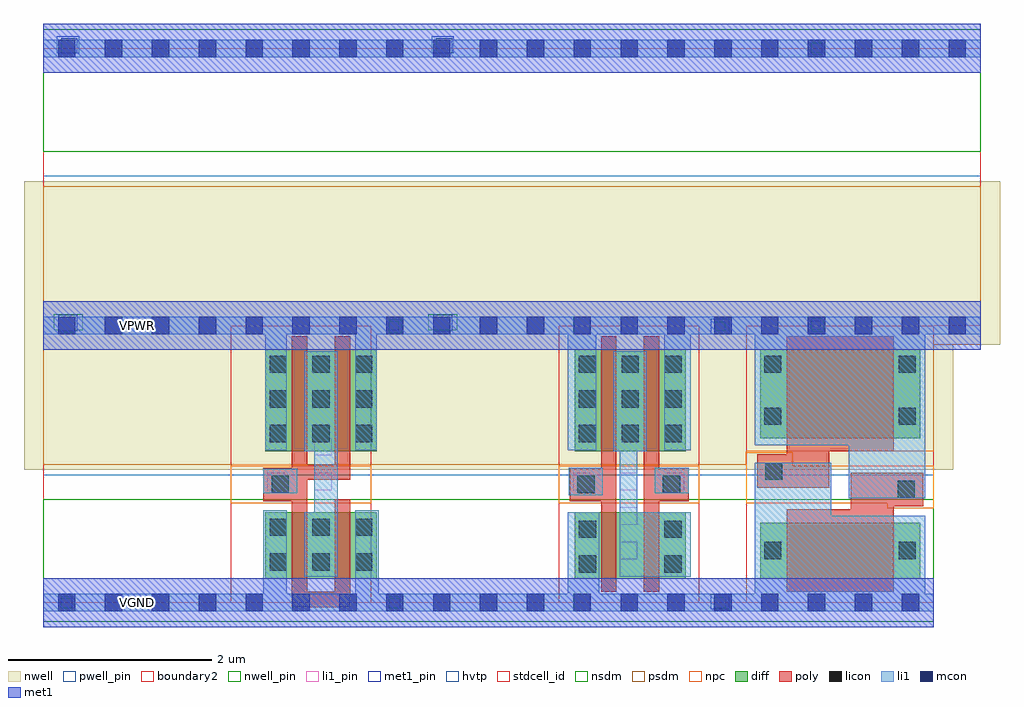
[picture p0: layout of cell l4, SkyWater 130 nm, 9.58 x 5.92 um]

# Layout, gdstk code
import gdstk
lib = gdstk.Library(unit=1e-6, precision=1e-09)
def R(c, l, rs):  # rectangles x0, y0, x1, y1
    for r in rs: c.add(gdstk.rectangle(r[:2], r[2:], *l))
def A(c, l, x, y, w, h, nx, ny, dx, dy):  # array of equal rectangles
    R(c, l, [(x+i*dx, y+j*dy, x+i*dx+w, y+j*dy+h) for i in range(nx) for j in range(ny)])
nwell_pin = (64, 16)
nwell = (64, 20)
diff = (65, 20)
poly = (66, 20)
licon = (66, 44)
li1_pin = (67, 16)
li1 = (67, 20)
mcon = (67, 44)
met1_pin = (68, 16)
met1 = (68, 20)
hvtp = (78, 44)
stdcell_id = (81, 4)
nsdm = (93, 44)
psdm = (94, 20)
npc = (95, 20)
pwell_pin = (122, 16)
boundary2 = (236, 0)

c_l4 = lib.new_cell('l4')
R(c_l4, nwell_pin, [(1.985,2.635,2.155,2.805), (1.985,2.635,2.155,2.805), (5.2,2.635,5.37,2.805), (7.045,2.635,7.215,2.805), (0.175,2.65,0.3,2.78), (3.395,2.65,3.52,2.78), (7.535,2.66,7.66,2.79), (6.595,2.67,6.695,2.755), (0.1,2.675,0.385,2.83), (3.78,2.675,4.065,2.83)])
R(c_l4, nwell, [(-0.19,1.305,2.03,2.91), (1.65,1.305,3.45,2.91), (3.03,1.305,5.25,2.91), (4.87,1.305,6.63,2.91), (6.25,1.305,7.09,2.91), (6.71,1.305,8.93,2.91), (-0.19,2.53,3.87,4.135), (3.49,2.53,7.55,4.135), (7.17,2.53,9.39,4.135)])
R(c_l4, diff, [(2.18,0.235,3.27,0.885), (5.215,0.235,6.305,0.885), (7.035,0.235,8.605,0.785), (2.18,1.485,3.27,2.485), (5.215,1.485,6.305,2.485), (7.035,1.615,8.605,2.485)])
R(c_l4, poly, [(2.44,-0.045,3.01,0.105), (2.86,-0.045,3.01,1.015), (2.44,0.105,2.59,2.615), (5.475,0.105,5.625,2.615), (5.895,0.105,6.045,2.615), (7.295,0.105,7.925,0.915), (7.925,0.105,8.345,1.275), (8.345,0.945,8.635,1.275), (2.16,0.995,2.44,1.325), (5.165,0.995,5.475,1.325), (6.045,0.995,6.335,1.325), (7.005,1.125,7.295,1.455), (7.295,1.125,7.715,2.615), (2.44,1.205,3.01,1.355), (2.86,1.205,3.01,2.615), (7.715,1.485,8.345,2.615)])
A(c_l4, licon, 2.22, 0.315, 0.17, 0.17, 3, 2, 0.42, 0.34)
A(c_l4, licon, 2.22, 1.575, 0.17, 0.17, 3, 3, 0.42, 0.34)
A(c_l4, licon, 5.255, 1.575, 0.17, 0.17, 3, 3, 0.42, 0.34)
R(c_l4, licon, [(5.255,0.295,5.425,0.465), (6.095,0.295,6.265,0.465), (7.075,0.425,7.245,0.595), (8.395,0.425,8.565,0.595), (5.255,0.635,5.425,0.805), (6.095,0.635,6.265,0.805), (8.385,1.025,8.555,1.195), (2.24,1.075,2.41,1.245), (5.24,1.075,5.41,1.245), (6.08,1.075,6.25,1.245), (7.085,1.205,7.255,1.375), (7.075,1.745,7.245,1.915), (8.395,1.745,8.565,1.915), (7.075,2.255,7.245,2.425), (8.395,2.255,8.565,2.425)])
A(c_l4, li1_pin, 5.2, 1.105, 0.17, 0.17, 3, 1, 0.46, 0)
R(c_l4, li1_pin, [(5.66,0.425,5.83,0.595), (5.66,0.765,5.83,0.935), (2.2,1.105,2.37,1.275), (2.66,1.105,2.83,1.275), (2.66,1.445,2.83,1.615)])
R(c_l4, li1, [(0,-0.085,1.84,0.085), (1.84,-0.085,3.22,0.085), (3.22,-0.085,5.06,0.085), (5.06,-0.085,5.145,0.085), (5.145,-0.085,5.455,0.885), (5.455,-0.085,6.44,0.085), (6.44,-0.085,6.9,0.085), (6.9,-0.085,6.985,0.085), (6.985,-0.085,7.735,1.375), (7.735,-0.085,8.655,0.855), (8.655,-0.085,8.74,0.085), (2.16,0.005,2.39,0.905), (3.06,0.005,3.29,0.905), (2.56,0.255,2.66,0.885), (2.66,0.255,2.89,2.465), (5.66,0.255,5.83,2.465), (5.83,0.255,5.925,0.885), (5.925,0.255,6.355,0.885), (7.905,1.025,8.655,2.805), (5.155,1.055,5.49,1.325), (2.16,1.075,2.49,1.315), (6,1.075,6.335,1.325), (2.56,1.485,2.66,2.465), (5.595,1.485,5.66,2.465), (5.83,1.485,5.925,2.465), (2.18,1.495,2.39,2.675), (3.06,1.495,3.27,2.675), (5.145,1.495,5.425,2.805), (6.095,1.495,6.355,2.805), (6.985,1.545,7.905,2.805), (0,2.635,1.84,2.805), (0,2.635,3.68,2.805), (1.84,2.635,3.22,2.805), (3.22,2.635,5.06,2.805), (3.68,2.635,7.36,2.805), (5.06,2.635,5.145,2.805), (5.425,2.635,6.095,2.805), (6.355,2.635,6.44,2.805), (6.44,2.635,6.9,2.805), (6.9,2.635,6.985,2.805), (7.36,2.635,9.2,2.805), (8.655,2.635,8.74,2.805), (0,5.355,3.68,5.525), (3.68,5.355,7.36,5.525), (7.36,5.355,9.2,5.525)])
A(c_l4, mcon, 0.145, -0.085, 0.17, 0.17, 19, 1, 0.46, 0)
A(c_l4, mcon, 0.145, 5.355, 0.17, 0.17, 20, 1, 0.46, 0)
R(c_l4, mcon, [(0.145,2.635,0.315,2.805), (0.145,2.635,0.315,2.805), (0.605,2.635,0.775,2.805), (0.605,2.635,0.775,2.805), (1.065,2.635,1.235,2.805), (1.065,2.635,1.235,2.805), (1.525,2.635,1.695,2.805), (1.525,2.635,1.695,2.805), (1.985,2.635,2.155,2.805), (1.985,2.635,2.155,2.805), (2.445,2.635,2.615,2.805), (2.445,2.635,2.615,2.805), (2.905,2.635,3.075,2.805), (2.905,2.635,3.075,2.805), (3.365,2.635,3.535,2.805), (3.365,2.635,3.535,2.805), (3.825,2.635,3.995,2.805), (3.825,2.635,3.995,2.805), (4.285,2.635,4.455,2.805), (4.285,2.635,4.455,2.805), (4.745,2.635,4.915,2.805), (4.745,2.635,4.915,2.805), (5.205,2.635,5.375,2.805), (5.205,2.635,5.375,2.805), (5.665,2.635,5.835,2.805), (5.665,2.635,5.835,2.805), (6.125,2.635,6.295,2.805), (6.125,2.635,6.295,2.805), (6.585,2.635,6.755,2.805), (6.585,2.635,6.755,2.805), (7.045,2.635,7.215,2.805), (7.045,2.635,7.215,2.805), (7.505,2.635,7.675,2.805), (7.505,2.635,7.675,2.805), (7.965,2.635,8.135,2.805), (7.965,2.635,8.135,2.805), (8.425,2.635,8.595,2.805), (8.425,2.635,8.595,2.805), (8.885,2.635,9.055,2.805)])
R(c_l4, met1_pin, [(1.985,-0.085,2.155,0.085), (1.985,-0.085,2.155,0.085), (5.2,-0.085,5.37,0.085), (7.045,-0.085,7.215,0.085), (6.55,-0.065,6.73,0.08), (0.17,-0.05,0.285,0.045), (3.39,-0.05,3.505,0.045), (1.985,2.635,2.155,2.805), (1.985,2.635,2.155,2.805), (5.2,2.635,5.37,2.805), (6.55,2.635,6.73,2.785), (7.045,2.635,7.215,2.805), (0.145,2.665,0.335,2.825), (3.825,2.665,4.015,2.825), (0.17,2.675,0.27,2.76), (3.39,2.675,3.49,2.76), (7.53,2.68,7.63,2.765), (0.175,5.39,0.335,5.54), (3.855,5.39,4.015,5.54), (7.53,5.395,7.645,5.49)])
R(c_l4, met1, [(0,-0.24,1.84,0.24), (1.84,-0.24,3.22,0.24), (3.22,-0.24,5.06,0.24), (5.06,-0.24,6.44,0.24), (6.44,-0.24,6.9,0.24), (6.9,-0.24,8.74,0.24), (0,2.48,1.84,2.96), (0,2.48,3.68,2.96), (1.84,2.48,3.22,2.96), (3.22,2.48,5.06,2.96), (3.68,2.48,7.36,2.96), (5.06,2.48,6.44,2.96), (6.44,2.48,6.9,2.96), (6.9,2.48,8.74,2.96), (7.36,2.48,9.2,2.96), (0,5.2,3.68,5.68), (3.68,5.2,7.36,5.68), (7.36,5.2,9.2,5.68)])
R(c_l4, hvtp, [(0,1.25,1.84,2.72), (1.84,1.25,3.22,2.72), (3.22,1.25,5.06,2.72), (5.06,1.25,6.44,2.72), (6.44,1.25,6.9,2.72), (6.9,1.25,8.74,2.72), (0,2.72,3.68,4.19), (3.68,2.72,7.36,4.19), (7.36,2.72,9.2,4.19)])
R(c_l4, stdcell_id, [(0,0,1.84,2.72), (1.84,0,3.22,2.72), (3.22,0,5.06,2.72), (5.06,0,6.44,2.72), (6.44,0,6.9,2.72), (6.9,0,8.74,2.72), (0,2.72,3.68,5.44), (3.68,2.72,7.36,5.44), (7.36,2.72,9.2,5.44)])
R(c_l4, nsdm, [(0,-0.19,1.84,1.015), (1.84,-0.19,3.395,1.015), (3.22,-0.19,5.06,1.015), (5.06,-0.19,6.44,1.015), (6.44,-0.19,6.9,1.015), (6.9,-0.19,8.74,1.015), (0,4.425,3.68,5.63), (3.68,4.425,7.36,5.63), (7.36,4.425,9.2,5.63)])
R(c_l4, psdm, [(0,1.355,1.84,2.91), (1.84,1.355,3.395,2.91), (3.22,1.355,5.06,2.91), (5.06,1.355,6.44,2.91), (6.44,1.355,6.9,2.91), (6.9,1.485,8.74,2.91), (0,2.53,3.68,4.085), (3.68,2.53,7.36,4.085), (7.36,2.53,9.2,4.085)])
R(c_l4, npc, [(8.285,0.925,8.74,1.345), (1.84,0.975,3.22,1.345), (5.06,0.975,6.44,1.345), (6.9,0.975,7.355,1.475), (7.355,0.975,8.285,1.345)])
R(c_l4, pwell_pin, [(1.985,-0.085,2.155,0.085), (1.985,-0.085,2.155,0.085), (5.2,-0.085,5.37,0.085), (7.045,-0.085,7.215,0.085), (0.175,-0.06,0.285,0.06), (3.395,-0.06,3.505,0.06), (6.58,-0.055,6.7,0.055), (7.535,5.38,7.645,5.5), (0.13,5.39,0.35,5.56), (3.81,5.39,4.03,5.56)])
R(c_l4, boundary2, [(1.84,0,3.22,2.72), (5.06,0,6.44,2.72), (6.9,0,8.74,2.72)])
c_l4.add(gdstk.Label('VPWR', (0.92,2.72), layer=67, texttype=20))
c_l4.add(gdstk.Label('VGND', (0.92,0), layer=67, texttype=20))

lib.write_gds('l4.gds')
